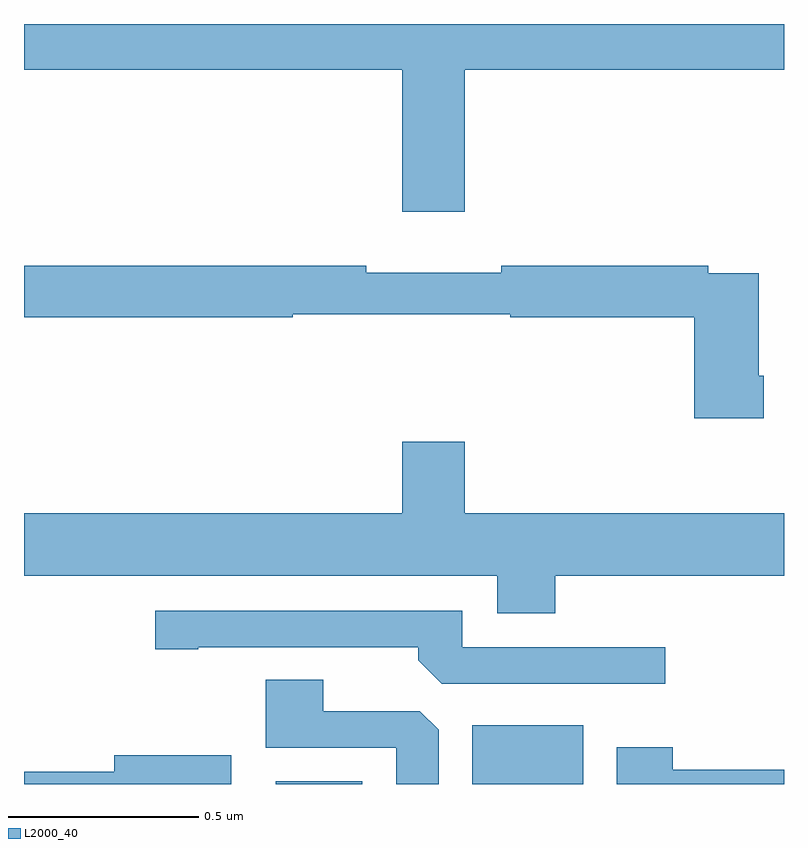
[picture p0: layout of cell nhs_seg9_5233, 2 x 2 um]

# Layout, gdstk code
import gdstk
lib = gdstk.Library(unit=1e-6, precision=1e-09)
def R(c, l, rs):  # rectangles x0, y0, x1, y1
    for r in rs: c.add(gdstk.rectangle(r[:2], r[2:], *l))
def P(c, l, *ps):  # polygons
    for p in ps: c.add(gdstk.Polygon(p, *l))
L2000_40 = (2000, 40)

nhs_seg9_5233 = lib.new_cell('nhs_seg9_5233')
R(nhs_seg9_5233, L2000_40, [(176.663,1234.5,176.89,1234.507), (177.179,1234.5,177.472,1234.654)])
P(nhs_seg9_5233, L2000_40, [(177.16,1236.38),(178,1236.38),(178,1236.5),(176,1236.5),(176,1236.38),(176.996,1236.38),(176.996,1236.006),(177.16,1236.006)],
  [(177.947,1235.575),(177.934,1235.575),(177.934,1235.844),(177.8,1235.844),(177.8,1235.864),(177.256,1235.864),(177.256,1235.845),(176.9,1235.845),(176.9,1235.864),(176,1235.864),(176,1235.728),(176.707,1235.728),(176.707,1235.736),(177.28,1235.736),(177.28,1235.728),(177.764,1235.728),(177.764,1235.463),(177.947,1235.463)],
  [(177.398,1235.048),(178,1235.048),(178,1235.212),(177.16,1235.212),(177.16,1235.401),(176.996,1235.401),(176.996,1235.212),(176,1235.212),(176,1235.048),(177.245,1235.048),(177.245,1234.949),(177.398,1234.949)],
  [(177.688,1234.86),(177.153,1234.86),(177.153,1234.956),(176.346,1234.956),(176.346,1234.855),(176.458,1234.855),(176.458,1234.86),(177.038,1234.86),(177.038,1234.826),(177.099,1234.764),(177.688,1234.764)],
  [(177.091,1234.643),(177.042,1234.692),(176.788,1234.692),(176.788,1234.775),(176.636,1234.775),(176.636,1234.596),(176.979,1234.596),(176.979,1234.5),(177.091,1234.5)],
  [(178,1234.538),(177.707,1234.538),(177.707,1234.597),(177.56,1234.597),(177.56,1234.5),(178,1234.5)],
  [(176.545,1234.576),(176.237,1234.576),(176.237,1234.532),(176,1234.532),(176,1234.5),(176.545,1234.5)])

lib.write_gds('nhs_seg9_5233.gds')
